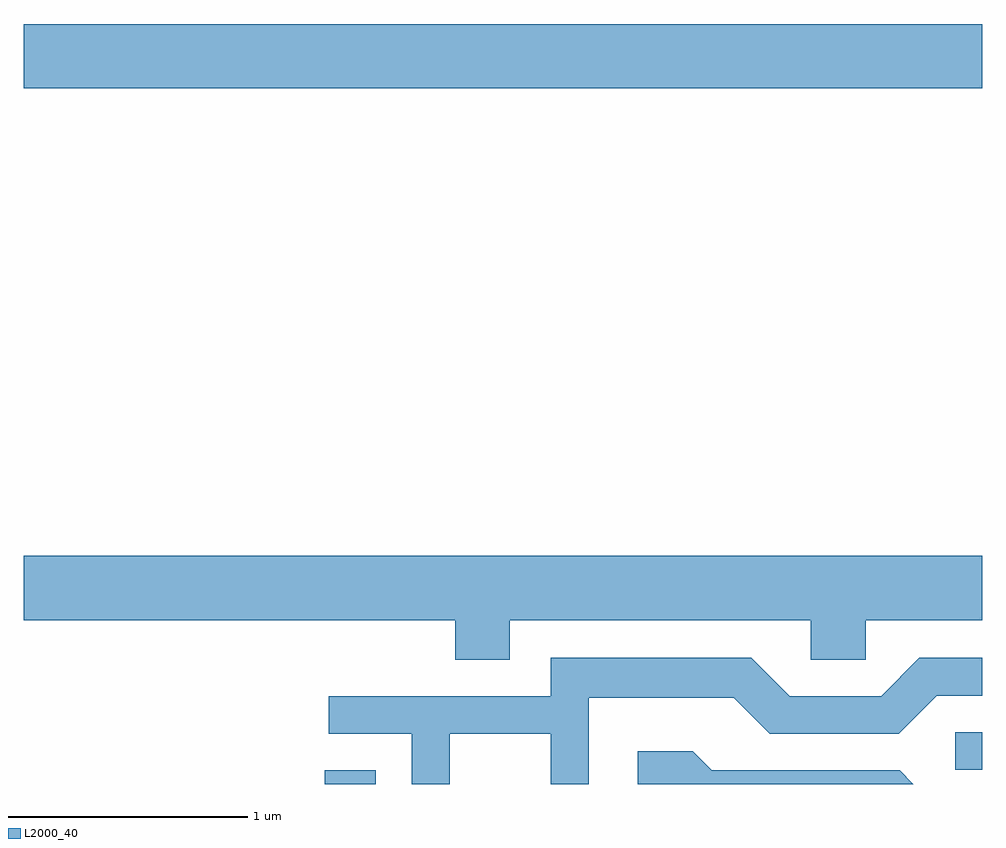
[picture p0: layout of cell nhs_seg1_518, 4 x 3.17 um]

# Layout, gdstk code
import gdstk
lib = gdstk.Library(unit=1e-6, precision=1e-09)
def R(c, l, rs):  # rectangles x0, y0, x1, y1
    for r in rs: c.add(gdstk.rectangle(r[:2], r[2:], *l))
def P(c, l, *ps):  # polygons
    for p in ps: c.add(gdstk.Polygon(p, *l))
L2000_40 = (2000, 40)

nhs_seg1_518 = lib.new_cell('nhs_seg1_518')
R(nhs_seg1_518, L2000_40, [(200.866,967.712,201.079,967.769), (203.498,967.771,203.611,967.929), (199.611,970.616,203.611,970.884)])
P(nhs_seg1_518, L2000_40, [(201.639,968.396),(202.896,968.396),(202.896,968.231),(203.124,968.231),(203.124,968.396),(203.611,968.396),(203.611,968.664),(199.611,968.664),(199.611,968.396),(201.411,968.396),(201.411,968.231),(201.639,968.231)],
  [(201.389,967.921),(201.811,967.921),(201.811,967.712),(201.969,967.712),(201.969,968.071),(202.574,968.071),(202.724,967.921),(203.262,967.921),(203.422,968.081),(203.611,968.081),(203.611,968.239),(203.349,968.239),(203.189,968.079),(202.807,968.079),(202.647,968.239),(201.811,968.239),(201.811,968.079),(200.883,968.079),(200.883,967.921),(201.231,967.921),(201.231,967.712),(201.389,967.712)],
  [(203.267,967.769),(202.482,967.769),(202.402,967.849),(202.173,967.849),(202.173,967.712),(203.324,967.712)])

lib.write_gds('nhs_seg1_518.gds')
